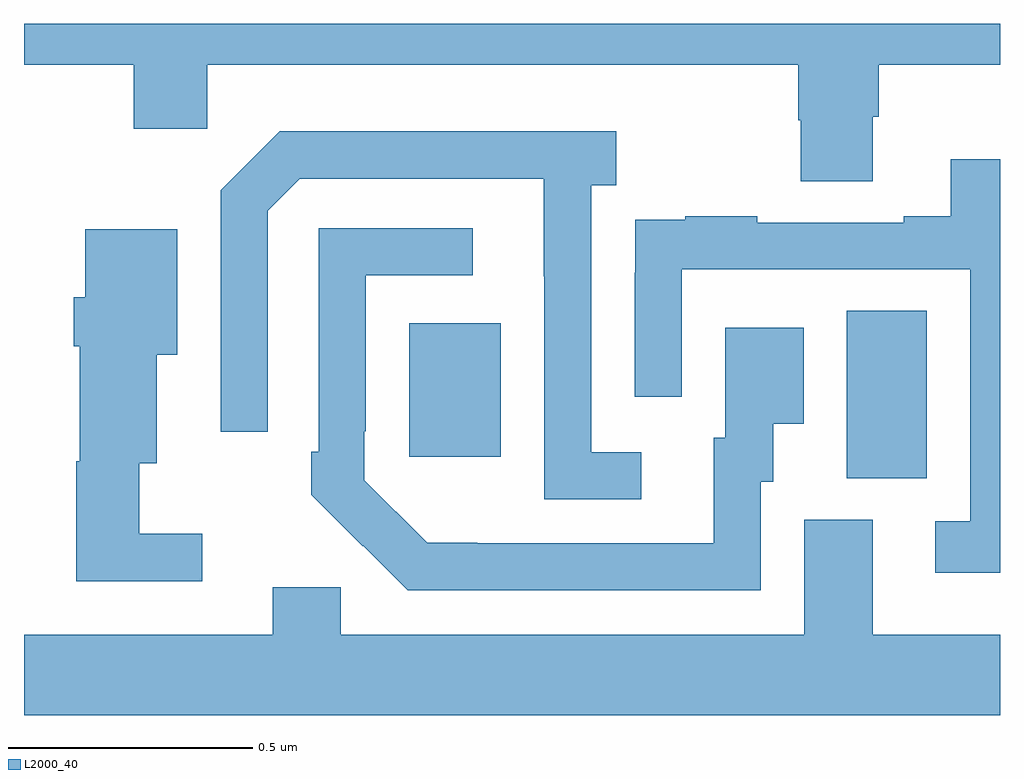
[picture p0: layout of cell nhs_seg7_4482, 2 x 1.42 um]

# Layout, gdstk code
import gdstk
lib = gdstk.Library(unit=1e-6, precision=1e-09)
def R(c, l, rs):  # rectangles x0, y0, x1, y1
    for r in rs: c.add(gdstk.rectangle(r[:2], r[2:], *l))
def P(c, l, *ps):  # polygons
    for p in ps: c.add(gdstk.Polygon(p, *l))
L2000_40 = (2000, 40)

nhs_seg7_4482 = lib.new_cell('nhs_seg7_4482')
R(nhs_seg7_4482, L2000_40, [(174.686,1033.069,174.85,1033.412), (173.789,1033.113,173.977,1033.387)])
P(nhs_seg7_4482, L2000_40, [(174.739,1033.81),(174.752,1033.81),(174.752,1033.916),(175,1033.916),(175,1034),(173,1034),(173,1033.916),(173.225,1033.916),(173.225,1033.785),(173.376,1033.785),(173.376,1033.916),(174.587,1033.916),(174.587,1033.803),(174.592,1033.803),(174.592,1033.678),(174.739,1033.678)],
  [(174.265,1033.122),(174.162,1033.122),(174.162,1033.67),(174.214,1033.67),(174.214,1033.78),(173.524,1033.78),(173.403,1033.659),(173.403,1033.164),(173.499,1033.164),(173.499,1033.617),(173.565,1033.683),(174.065,1033.683),(174.065,1033.483),(174.066,1033.483),(174.066,1033.026),(174.265,1033.026)],
  [(175,1033.723),(174.899,1033.723),(174.899,1033.606),(174.803,1033.606),(174.803,1033.593),(174.503,1033.593),(174.503,1033.606),(174.355,1033.606),(174.355,1033.599),(174.253,1033.599),(174.253,1033.49),(174.252,1033.49),(174.252,1033.236),(174.348,1033.236),(174.348,1033.497),(174.939,1033.497),(174.939,1032.981),(174.867,1032.981),(174.867,1032.876),(175,1032.876)],
  [(174.51,1033.062),(174.535,1033.062),(174.535,1033.181),(174.598,1033.181),(174.598,1033.378),(174.437,1033.378),(174.437,1033.152),(174.413,1033.152),(174.413,1032.936),(173.929,1032.936),(173.929,1032.937),(173.826,1032.937),(173.697,1033.065),(173.697,1033.165),(173.7,1033.165),(173.7,1033.485),(173.92,1033.485),(173.92,1033.581),(173.604,1033.581),(173.604,1033.123),(173.589,1033.123),(173.589,1033.035),(173.694,1032.93),(173.695,1032.931),(173.786,1032.84),(174.51,1032.84)],
  [(173.365,1032.955),(173.236,1032.955),(173.236,1033.1),(173.272,1033.1),(173.272,1033.322),(173.314,1033.322),(173.314,1033.579),(173.126,1033.579),(173.126,1033.44),(173.102,1033.44),(173.102,1033.34),(173.114,1033.34),(173.114,1033.104),(173.107,1033.104),(173.107,1032.858),(173.365,1032.858)],
  [(175,1032.748),(174.739,1032.748),(174.739,1032.984),(174.599,1032.984),(174.599,1032.748),(173.649,1032.748),(173.649,1032.846),(173.51,1032.846),(173.51,1032.748),(173,1032.748),(173,1032.584),(175,1032.584)])

lib.write_gds('nhs_seg7_4482.gds')
